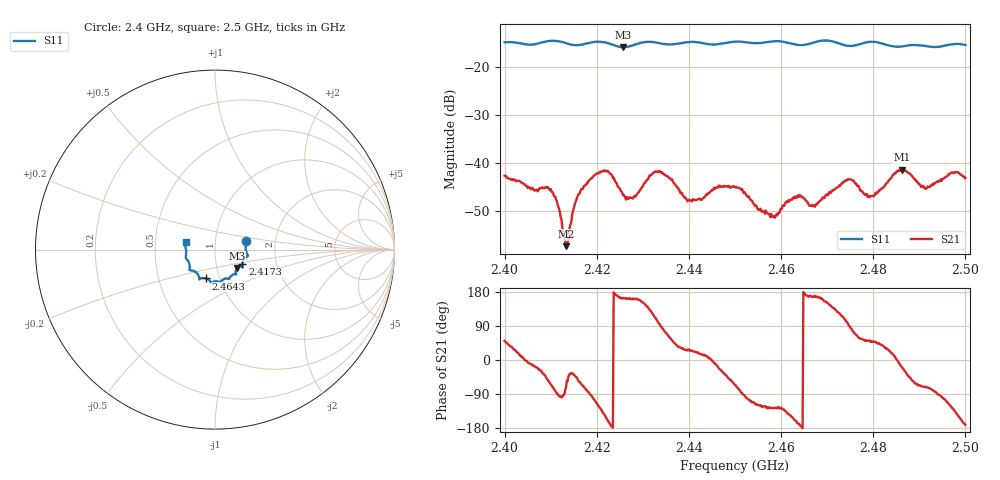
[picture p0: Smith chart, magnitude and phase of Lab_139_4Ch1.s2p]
# Hz S RI R 50
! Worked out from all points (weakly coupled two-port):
!   601 points, 2.4 GHz to 2.5 GHz, reference 50 ohm
!   highest |S21| = -41.38 dB at 2.4862 GHz (marker M1); lowest = -57.3 dB at 2.4133 GHz (marker M2)
!   lowest |S11| = -15.9 dB at 2.4257 GHz (marker M3), VSWR 1.38, Z = 62.5 - j13.1 ohm
!   |S11| at or under -10 dB: start of sweep to end of sweep
!   S12 and S22 are empty: the file has one direction only
!   S11 on the Smith chart (normalised r, x): 2.4 GHz: 1.41, +0.14; 2.4173 GHz: 1.34, -0.23; 2.4643 GHz: 0.86, -0.29; 2.5 GHz: 0.72, +0.06
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2.4e9  0.1732 0.0493  0.00471 0.00568  0 0  0 0
2.409833e9  0.1832 -0.032  0.00256 -0.00456  0 0  0 0
2.4115e9  0.1821 -0.0357  6.91e-05 -0.0037  0 0  0 0
2.413333e9  0.171 -0.0426  0.000402 -0.00131  0 0  0 0
2.416667e9  0.1529 -0.0745  0.00235 -0.00482  0 0  0 0
2.417333e9  0.1523 -0.0819  0.00171 -0.00557  0 0  0 0
2.422e9  0.1514 -0.0949  -0.00724 -0.00386  0 0  0 0
2.425667e9  0.1228 -0.1024  -0.0045 0.00128  0 0  0 0
2.428167e9  0.1147 -0.125  -0.0043 0.00147  0 0  0 0
2.433333e9  0.1129 -0.1367  -0.00131 0.00808  0 0  0 0
2.440167e9  0.0791 -0.1636  0.00375 0.00165  0 0  0 0
2.45e9  0.0293 -0.1806  0.00228 -0.00513  0 0  0 0
2.458167e9  -0.0192 -0.1831  -0.00167 -0.00219  0 0  0 0
2.464333e9  -0.05 -0.1608  -0.00451 -0.000384  0 0  0 0
2.466667e9  -0.076 -0.1597  -0.00356 0.000857  0 0  0 0
2.474333e9  -0.0998 -0.1321  -0.00108 0.0066  0 0  0 0
2.479333e9  -0.1416 -0.1147  0.00302 0.00342  0 0  0 0
2.483333e9  -0.1409 -0.0901  0.00594 0.0029  0 0  0 0
2.486167e9  -0.1508 -0.0619  0.0081 -0.00268  0 0  0 0
2.4915e9  -0.1613 -0.0298  0.0018 -0.00521  0 0  0 0
2.496833e9  -0.1691 0.025  -0.00414 -0.00671  0 0  0 0
2.5e9  -0.1637 0.042  -0.00688 -0.00105  0 0  0 0
